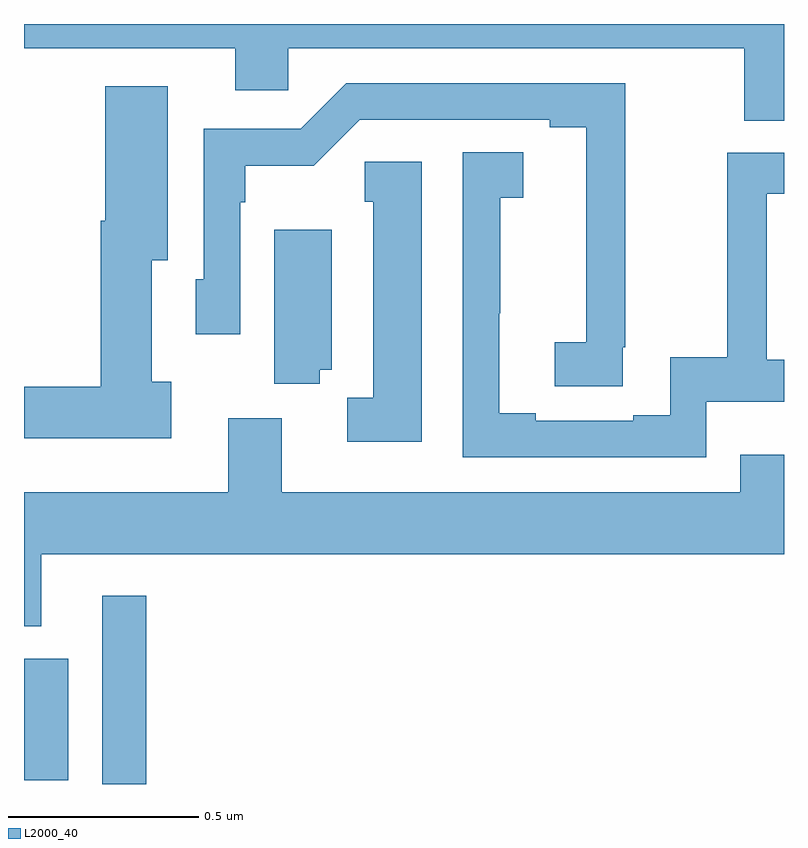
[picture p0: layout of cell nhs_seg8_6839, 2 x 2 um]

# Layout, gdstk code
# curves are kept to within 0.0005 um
import gdstk
lib = gdstk.Library(unit=1e-6, precision=1e-09)
def R(c, l, rs):  # rectangles x0, y0, x1, y1
    for r in rs: c.add(gdstk.rectangle(r[:2], r[2:], *l))
def P(c, l, *ps):  # polygons
    for p in ps: c.add(gdstk.Polygon(p, *l))
L2000_40 = (2000, 40)

nhs_seg8_6839 = lib.new_cell('nhs_seg8_6839')
R(nhs_seg8_6839, L2000_40, [(202.206,1111.9,202.322,1112.395), (202,1111.91,202.117,1112.23)])
P(nhs_seg8_6839, L2000_40, [(204,1113.9),(202,1113.9),(202,1113.836),(202.556,1113.836),(202.556,1113.726),(202.695,1113.726),(202.695,1113.836),(203.896,1113.836),(203.896,1113.646),(204,1113.646)],
  [(203.576,1113.049),(203.582,1113.049),(203.582,1113.744),(202.848,1113.744),(202.728,1113.624),(202.473,1113.624),(202.473,1113.228),(202.452,1113.228),(202.452,1113.084),(202.569,1113.084),(202.569,1113.431),(202.582,1113.431),(202.582,1113.527),(202.763,1113.527),(202.884,1113.648),(203.384,1113.648),(203.384,1113.628),(203.48,1113.628),(203.479,1113.062),(203.397,1113.062),(203.397,1112.947),(203.576,1112.947)],
  [(202.387,1112.958),(202.336,1112.958),(202.336,1113.278),(202.378,1113.278),(202.378,1113.736),(202.214,1113.736),(202.214,1113.382),(202.202,1113.382),(202.202,1112.945),(202,1112.945),(202,1112.81),(202.387,1112.81)],
  [(203.796,1112.906),(204,1112.906),(204,1113.016),(203.954,1113.016),(203.954,1113.453),(204,1113.453),(204,1113.561),(203.851,1113.561),(203.851,1113.023),(203.7,1113.023),(203.7,1112.87),(203.603,1112.87),(203.603,1112.856),(203.347,1112.856),(203.347,1112.876),(203.251,1112.876),(203.251,1113.139),(203.253,1113.139),(203.253,1113.443),(203.314,1113.443),(203.314,1113.563),(203.154,1113.563),(203.154,1112.76),(203.796,1112.76)],
  [(203.047,1113.538),(202.897,1113.538),(202.897,1113.432),(202.919,1113.432),(202.919,1112.916),(202.851,1112.916),(202.851,1112.801),(203.047,1112.801)],
  [(202.778,1112.99),(202.81,1112.99),(202.81,1113.358),(202.658,1113.358),(202.658,1112.953),(202.778,1112.953)],
  [(202,1112.315),(202.045,1112.315),(202.045,1112.504),(204,1112.504),(204,1112.766),(203.885,1112.766),(203.885,1112.668),(202.678,1112.668),(202.678,1112.863),(202.538,1112.863),(202.538,1112.668),(202,1112.668)])

lib.write_gds('nhs_seg8_6839.gds')
